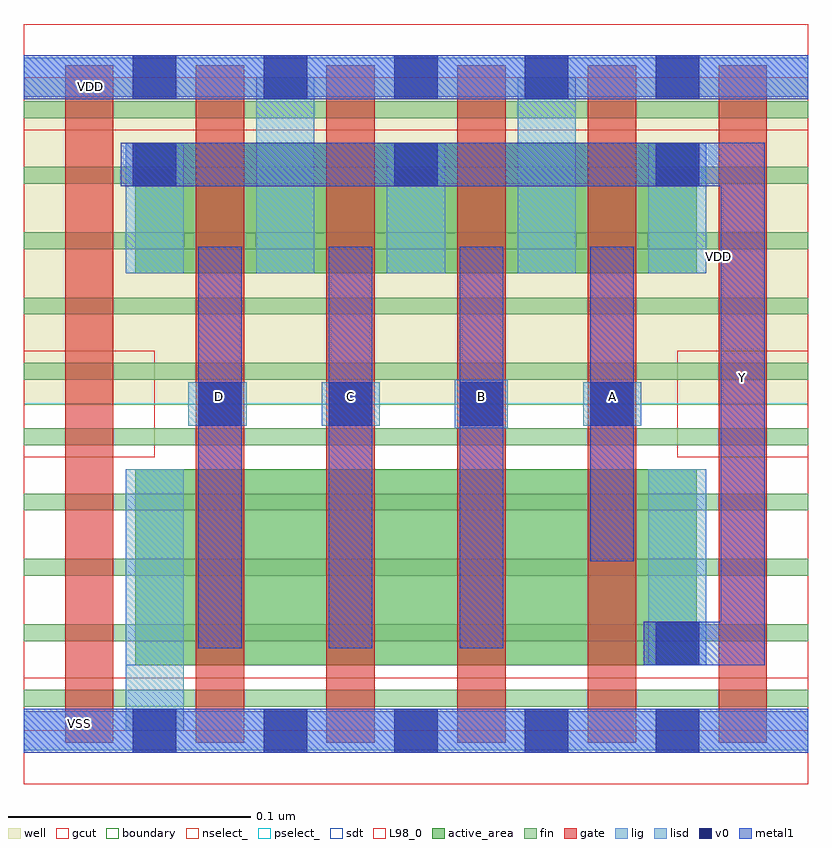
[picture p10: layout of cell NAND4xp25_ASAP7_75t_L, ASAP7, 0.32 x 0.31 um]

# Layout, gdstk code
import gdstk
lib = gdstk.Library(unit=1e-6, precision=2.5e-10)
def R(c, l, rs):  # rectangles x0, y0, x1, y1
    for r in rs: c.add(gdstk.rectangle(r[:2], r[2:], *l))
def A(c, l, x, y, w, h, nx, ny, dx, dy):  # array of equal rectangles
    R(c, l, [(x+i*dx, y+j*dy, x+i*dx+w, y+j*dy+h) for i in range(nx) for j in range(ny)])
def P(c, l, *ps):  # polygons
    for p in ps: c.add(gdstk.Polygon(p, *l))
well = (1, 0)
fin = (2, 0)
gate = (7, 0)
gcut = (10, 0)
active_area = (11, 0)
nselect_ = (12, 0)
pselect_ = (13, 0)
lig = (16, 0)
lisd = (17, 0)
v0 = (18, 0)
metal1 = (19, 0)
sdt = (88, 0)
L98_0 = (98, 0)
boundary = (100, 0)

nand4xp25_asap7_75t_l = lib.new_cell('NAND4xp25_ASAP7_75t_L')
R(nand4xp25_asap7_75t_l, well, [(0,0.135,0.324,0.27)])
A(nand4xp25_asap7_75t_l, fin, 0, 0.01, 0.324, 0.007, 1, 10, 0, 0.027)
A(nand4xp25_asap7_75t_l, gate, 0.017, -0.005, 0.02, 0.28, 6, 1, 0.054, 0)
R(nand4xp25_asap7_75t_l, gcut, [(0,-0.022,0.324,0.022), (0,0.113,0.054,0.157), (0.27,0.113,0.324,0.157), (0,0.248,0.324,0.292)])
R(nand4xp25_asap7_75t_l, active_area, [(0.046,0.027,0.278,0.108), (0.046,0.189,0.278,0.243)])
R(nand4xp25_asap7_75t_l, nselect_, [(0,0,0.324,0.135)])
R(nand4xp25_asap7_75t_l, pselect_, [(0,0.135,0.324,0.27)])
R(nand4xp25_asap7_75t_l, lig, [(0,-0.008,0.324,0.008), (0.178,0.125,0.2,0.145), (0.068,0.126,0.092,0.144), (0.123,0.126,0.147,0.144), (0.231,0.126,0.255,0.144), (0,0.262,0.324,0.278)])
A(nand4xp25_asap7_75t_l, lisd, 0.042, 0.189, 0.024, 0.054, 3, 1, 0.108, 0)
R(nand4xp25_asap7_75t_l, lisd, [(0.042,0,0.066,0.108), (0.258,0.027,0.282,0.108), (0.096,0.189,0.12,0.27), (0.204,0.189,0.228,0.27)])
A(nand4xp25_asap7_75t_l, v0, 0.045, -0.009, 0.018, 0.018, 5, 2, 0.054, 0.27)
A(nand4xp25_asap7_75t_l, v0, 0.072, 0.126, 0.018, 0.018, 4, 1, 0.054, 0)
A(nand4xp25_asap7_75t_l, v0, 0.045, 0.225, 0.018, 0.018, 3, 1, 0.108, 0)
R(nand4xp25_asap7_75t_l, v0, [(0.261,0.027,0.279,0.045)])
A(nand4xp25_asap7_75t_l, metal1, 0.072, 0.034, 0.018, 0.166, 3, 1, 0.054, 0)
R(nand4xp25_asap7_75t_l, metal1, [(0,-0.009,0.324,0.009), (0.234,0.07,0.252,0.2), (0,0.261,0.324,0.279)])
P(nand4xp25_asap7_75t_l, metal1, [(0.306,0.243),(0.04,0.243),(0.04,0.225),(0.288,0.225),(0.288,0.045),(0.256,0.045),(0.256,0.027),(0.306,0.027)])
A(nand4xp25_asap7_75t_l, sdt, 0.042, 0.189, 0.024, 0.054, 5, 1, 0.054, 0)
R(nand4xp25_asap7_75t_l, sdt, [(0.042,0.027,0.066,0.108), (0.258,0.027,0.282,0.108)])
R(nand4xp25_asap7_75t_l, L98_0, [(0,0,0.324,0.27)])
R(nand4xp25_asap7_75t_l, boundary, [(0,0,0.324,0.27)])
nand4xp25_asap7_75t_l.add(gdstk.Label('C', (0.135,0.138), layer=19, texttype=251))
nand4xp25_asap7_75t_l.add(gdstk.Label('B', (0.189,0.138), layer=19, texttype=251))
nand4xp25_asap7_75t_l.add(gdstk.Label('A', (0.243,0.138), layer=19, texttype=251))
nand4xp25_asap7_75t_l.add(gdstk.Label('D', (0.081,0.138), layer=19, texttype=251))
nand4xp25_asap7_75t_l.add(gdstk.Label('Y', (0.297,0.146), layer=19, texttype=251))
nand4xp25_asap7_75t_l.add(gdstk.Label('VDD', (0.0275,0.266), layer=19, texttype=251))
nand4xp25_asap7_75t_l.add(gdstk.Label('VSS', (0.023,0.003), layer=19, texttype=251))
nand4xp25_asap7_75t_l.add(gdstk.Label('VDD', (0.287,0.196), layer=1, texttype=251))
nand4xp25_asap7_75t_l.add(gdstk.Label('VSS', (0.356,0.195), layer=3, texttype=251))

lib.write_gds('NAND4xp25_ASAP7_75t_L.gds')
